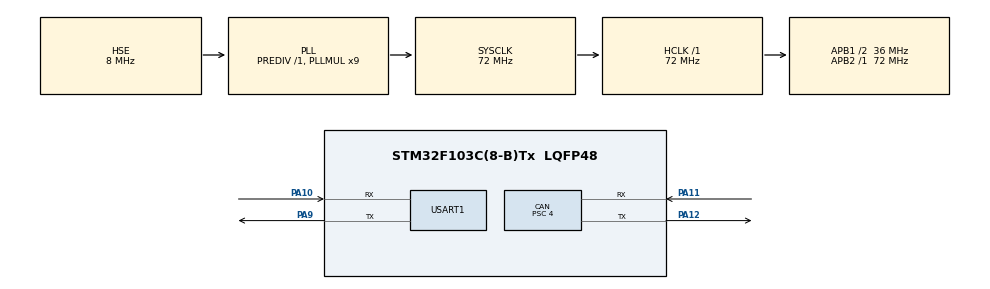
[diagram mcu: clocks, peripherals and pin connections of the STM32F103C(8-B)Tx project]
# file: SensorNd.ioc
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CAN.BS1=CAN_BS1_13TQ
CAN.BS2=CAN_BS2_4TQ
CAN.CalculateBaudRate=500000
CAN.CalculateTimeBit=2000
CAN.CalculateTimeQuantum=111.11111111111111
CAN.Prescaler=4
CAN.SJW=CAN_SJW_2TQ
Mcu.Family=STM32F1
Mcu.Name=STM32F103C(8-B)Tx
Mcu.Package=LQFP48
NVIC.CAN1_RX1_IRQn=true\:0\:0\:false\:false\:true\:true\:true\:true
NVIC.PriorityGroup=NVIC_PRIORITYGROUP_4
NVIC.TIM2_IRQn=true\:0\:0\:false\:false\:true\:true\:true\:true
PA10.Mode=Asynchronous
PA10.Signal=USART1_RX
PA11.Mode=CAN_Activate
PA11.Signal=CAN_RX
PA12.Mode=CAN_Activate
PA12.Signal=CAN_TX
PA9.Mode=Asynchronous
PA9.Signal=USART1_TX
PD0-OSC_IN.Mode=HSE-External-Oscillator
PD0-OSC_IN.Signal=RCC_OSC_IN
PD1-OSC_OUT.Mode=HSE-External-Oscillator
PD1-OSC_OUT.Signal=RCC_OSC_OUT
ProjectManager.HeapSize=0x200
ProjectManager.StackSize=0x400
ProjectManager.TargetToolchain=STM32CubeIDE
RCC.AHBFreq_Value=72000000
RCC.APB1CLKDivider=RCC_HCLK_DIV2
RCC.APB1Freq_Value=36000000
RCC.APB1TimFreq_Value=72000000
RCC.APB2Freq_Value=72000000
RCC.APB2TimFreq_Value=72000000
RCC.HCLKFreq_Value=72000000
RCC.PLLMUL=RCC_PLL_MUL9
RCC.PLLSourceVirtual=RCC_PLLSOURCE_HSE
RCC.SYSCLKFreq_VALUE=72000000
RCC.SYSCLKSource=RCC_SYSCLKSOURCE_PLLCLK
RCC.USBFreq_Value=72000000
TIM2.AutoReloadPreload=TIM_AUTORELOAD_PRELOAD_ENABLE
TIM2.Period=10000 - 1
TIM2.Prescaler=7200 - 1
USART1.VirtualMode=VM_ASYNC
VP_SYS_VS_ND.Mode=No_Debug
VP_TIM2_VS_ClockSourceINT.Mode=Internal
board=custom

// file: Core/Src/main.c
/* USER CODE BEGIN Header */
/**
  ******************************************************************************
  * @file           : main.c
  * @brief          : Main program body
  ******************************************************************************
  * @attention
  *
  * Copyright (c) 2024 STMicroelectronics.
  * All rights reserved.
  *
  * This software is licensed under terms that can be found in the LICENSE file
  * in the root directory of this software component.
  * If no LICENSE file comes with this software, it is provided AS-IS.
  *
  ******************************************************************************
  */
/* USER CODE END Header */
#include "main.h"

/* USER CODE BEGIN Includes */
#include "stdio.h"
/* USER CODE END Includes */

/* USER CODE BEGIN PTD */
CAN_TxHeaderTypeDef TxMsg;
CAN_RxHeaderTypeDef RxMsg;
/* USER CODE END PTD */

/* USER CODE BEGIN PD */
#define CAN_TX_ID_STD 0x012
#define CAN_RX_ID_STD 0x0A2
#define CAN_DATA_LENGTH 0x08
/* USER CODE END PD */

CAN_HandleTypeDef hcan;

TIM_HandleTypeDef htim2;

UART_HandleTypeDef huart1;

/* USER CODE BEGIN PV */

uint8_t TxData[8] = {0x01, 0x02, 0x00, 0x00, 0x00, 0x00, 0x00, 0x00};
uint8_t RxData[8] = {0x00, 0x00, 0x00, 0x00, 0x00, 0x00, 0x00, 0x00};
uint32_t TxMailbox;
uint8_t flag_CanRx = 0;
/* USER CODE END PV */

void SystemClock_Config(void);
static void MX_GPIO_Init(void);
static void MX_CAN_Init(void);
static void MX_USART1_UART_Init(void);
static void MX_TIM2_Init(void);

/* USER CODE BEGIN 0 */

uint8_t calc_SAE_J1850(uint8_t data[], int crc_len) {
    int idx, temp1, temp2, idy;
    uint8_t crc;
    crc = 0;
    temp1 = 0;
    temp2 = 0;

    for (idx = 0; idx < crc_len + 1; idx++) {
        if (idx == 0) {
            temp1 = 0;
        } else {
            temp1 = data[crc_len - idx];
        }

        crc = (crc ^ temp1);

        for (idy = 8; idy > 0; idy--) {
            temp2 = crc;
            crc <<= 1;

            if (0 != (temp2 & 128)) {  // Check the highest bit
                crc ^= 0x1D;  // if highest bit =  1, XOR with 0x1D
            }
        }
    }

    return crc;
}

void CAN_Transmit()
{
	TxMsg.StdId = CAN_TX_ID_STD;
	TxMsg.RTR = CAN_RTR_DATA; //Remote transmission request = Data frame
	TxMsg.IDE = CAN_ID_STD; 	 //Standard Id (11 bits for the identifier)
	TxMsg.DLC = CAN_DATA_LENGTH;

	TxData[7] = calc_SAE_J1850(TxData, 7);
	TxData[2] = TxData[2] >> 4;
	TxData[6]++;
	if (TxData[6] == 0xff) TxData[6] = 0x00;

	if ((HAL_CAN_AddTxMessage(&hcan, &TxMsg, TxData, &TxMailbox)) != HAL_OK)
	{
		Error_Handler();
	}

}

void HAL_CAN_RxFifo1MsgPendingCallback(CAN_HandleTypeDef *hcan)
{
	HAL_CAN_GetRxMessage(hcan, CAN_RX_FIFO1, &RxMsg, RxData);

	if (RxMsg.StdId == CAN_RX_ID_STD)
	{
		flag_CanRx = 1;
	}
}

void HAL_TIM_PeriodElapsedCallback(TIM_HandleTypeDef *htim)
{
	if (htim->Instance == htim2.Instance)
	{
		CAN_Transmit();
	}
}
/* USER CODE END 0 */

int main(void)
{

  /* MCU Configuration--------------------------------------------------------*/

  /* Reset of all peripherals, Initializes the Flash interface and the Systick. */
  HAL_Init();

  /* Configure the system clock */
  SystemClock_Config();

  /* Initialize all configured peripherals */
  MX_GPIO_Init();
  MX_CAN_Init();
  MX_USART1_UART_Init();
  MX_TIM2_Init();
  /* USER CODE BEGIN 2 */
  HAL_TIM_Base_Start_IT(&htim2);
  HAL_CAN_Start(&hcan);
  HAL_CAN_ActivateNotification(&hcan, CAN_IT_RX_FIFO1_MSG_PENDING);
  printf("Node 1\r\n");
  /* USER CODE END 2 */

  /* Infinite loop */
  /* USER CODE BEGIN WHILE */
  while (1)
  {
	  if (flag_CanRx) {
		  printf("Node 2 was received\r\n");
		  flag_CanRx = 0;
	  }

	  HAL_Delay(200);
    /* USER CODE END WHILE */

  }
}

void SystemClock_Config(void)
{
  RCC_OscInitTypeDef RCC_OscInitStruct = {0};
  RCC_ClkInitTypeDef RCC_ClkInitStruct = {0};

  /** Initializes the RCC Oscillators according to the specified parameters
  * in the RCC_OscInitTypeDef structure.
  */
  RCC_OscInitStruct.OscillatorType = RCC_OSCILLATORTYPE_HSE;
  RCC_OscInitStruct.HSEState = RCC_HSE_ON;
  RCC_OscInitStruct.HSEPredivValue = RCC_HSE_PREDIV_DIV1;
  RCC_OscInitStruct.HSIState = RCC_HSI_ON;
  RCC_OscInitStruct.PLL.PLLState = RCC_PLL_ON;
  RCC_OscInitStruct.PLL.PLLSource = RCC_PLLSOURCE_HSE;
  RCC_OscInitStruct.PLL.PLLMUL = RCC_PLL_MUL9;
  if (HAL_RCC_OscConfig(&RCC_OscInitStruct) != HAL_OK)
  {
    Error_Handler();
  }

  /** Initializes the CPU, AHB and APB buses clocks
  */
  RCC_ClkInitStruct.ClockType = RCC_CLOCKTYPE_HCLK|RCC_CLOCKTYPE_SYSCLK
                              |RCC_CLOCKTYPE_PCLK1|RCC_CLOCKTYPE_PCLK2;
  RCC_ClkInitStruct.SYSCLKSource = RCC_SYSCLKSOURCE_PLLCLK;
  RCC_ClkInitStruct.AHBCLKDivider = RCC_SYSCLK_DIV1;
  RCC_ClkInitStruct.APB1CLKDivider = RCC_HCLK_DIV2;
  RCC_ClkInitStruct.APB2CLKDivider = RCC_HCLK_DIV1;

  if (HAL_RCC_ClockConfig(&RCC_ClkInitStruct, FLASH_LATENCY_2) != HAL_OK)
  {
    Error_Handler();
  }
}

static void MX_CAN_Init(void)
{

  hcan.Instance = CAN1;
  hcan.Init.Prescaler = 4;
  hcan.Init.Mode = CAN_MODE_NORMAL;
  hcan.Init.SyncJumpWidth = CAN_SJW_2TQ;
  hcan.Init.TimeSeg1 = CAN_BS1_13TQ;
  hcan.Init.TimeSeg2 = CAN_BS2_4TQ;
  hcan.Init.TimeTriggeredMode = DISABLE;
  hcan.Init.AutoBusOff = DISABLE;
  hcan.Init.AutoWakeUp = DISABLE;
  hcan.Init.AutoRetransmission = DISABLE;
  hcan.Init.ReceiveFifoLocked = DISABLE;
  hcan.Init.TransmitFifoPriority = DISABLE;
  if (HAL_CAN_Init(&hcan) != HAL_OK)
  {
    Error_Handler();
  }

}

static void MX_TIM2_Init(void)
{

  TIM_ClockConfigTypeDef sClockSourceConfig = {0};
  TIM_MasterConfigTypeDef sMasterConfig = {0};

  htim2.Instance = TIM2;
  htim2.Init.Prescaler = 7200 - 1;
  htim2.Init.CounterMode = TIM_COUNTERMODE_UP;
  htim2.Init.Period = 10000 - 1;
  htim2.Init.ClockDivision = TIM_CLOCKDIVISION_DIV1;
  htim2.Init.AutoReloadPreload = TIM_AUTORELOAD_PRELOAD_ENABLE;
  if (HAL_TIM_Base_Init(&htim2) != HAL_OK)
  {
    Error_Handler();
  }
  sClockSourceConfig.ClockSource = TIM_CLOCKSOURCE_INTERNAL;
  if (HAL_TIM_ConfigClockSource(&htim2, &sClockSourceConfig) != HAL_OK)
  {
    Error_Handler();
  }
  sMasterConfig.MasterOutputTrigger = TIM_TRGO_RESET;
  sMasterConfig.MasterSlaveMode = TIM_MASTERSLAVEMODE_DISABLE;
  if (HAL_TIMEx_MasterConfigSynchronization(&htim2, &sMasterConfig) != HAL_OK)
  {
    Error_Handler();
  }

}

static void MX_USART1_UART_Init(void)
{

  huart1.Instance = USART1;
  huart1.Init.BaudRate = 115200;
  huart1.Init.WordLength = UART_WORDLENGTH_8B;
  huart1.Init.StopBits = UART_STOPBITS_1;
  huart1.Init.Parity = UART_PARITY_NONE;
  huart1.Init.Mode = UART_MODE_TX_RX;
  huart1.Init.HwFlowCtl = UART_HWCONTROL_NONE;
  huart1.Init.OverSampling = UART_OVERSAMPLING_16;
  if (HAL_UART_Init(&huart1) != HAL_OK)
  {
    Error_Handler();
  }

}

static void MX_GPIO_Init(void)
{

  /* GPIO Ports Clock Enable */
  __HAL_RCC_GPIOD_CLK_ENABLE();
  __HAL_RCC_GPIOA_CLK_ENABLE();

}

/* USER CODE BEGIN 4 */
#if defined(__GNUC__)
int _write(int fd, char * ptr, int len) {
  HAL_UART_Transmit( & huart1, (uint8_t * ) ptr, len, HAL_MAX_DELAY);
  return len;
}
#elif defined(__ICCARM__)#include "LowLevelIOInterface.h"

size_t __write(int handle,
  const unsigned char * buffer, size_t size) {
  HAL_UART_Transmit( & huart1, (uint8_t * ) buffer, size, HAL_MAX_DELAY);
  return size;
}
#elif defined(__CC_ARM)
int fputc(int ch, FILE * f) {
  HAL_UART_Transmit( & huart1, (uint8_t * ) & ch, 1, HAL_MAX_DELAY);
  return ch;
}
#endif
/* USER CODE END 4 */

void Error_Handler(void)
{
  __disable_irq();
  while (1)
  {
  }
}
